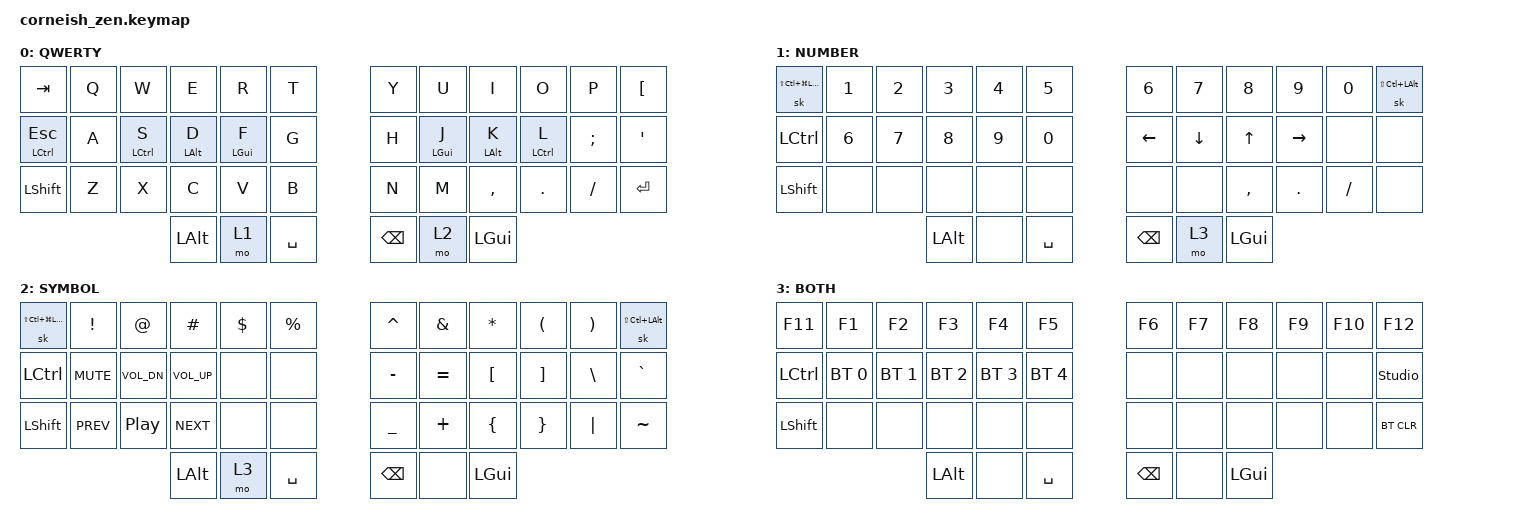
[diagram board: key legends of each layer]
#include <behaviors.dtsi>
#include <dt-bindings/zmk/keys.h>
#include <dt-bindings/zmk/bt.h>

/ {
  chosen {
    zmk,physical-layout = &foostan_corne_6col_layout;
    //zmk,physical-layout = &foostan_corne_5col_layout;
  };
};

/ {
        behaviors {
                hm: homerow_mods {
                compatible = "zmk,behavior-hold-tap";
                #binding-cells = <2>;
                tapping-term-ms = <200>;
                quick-tap-ms = <0>;
                flavor = "tap-preferred";
                bindings = <&kp>, <&kp>;
              };
        };
        keymap {
                compatible = "zmk,keymap";

                default_layer {
                        label = "QWERTY";
// -----------------------------------------------------------------------------------------
// |  TAB      |  Q  |  W        |  E       |  R       |  T  |   |  Y  |  U       |  I       |  O        |  P  | [    |
// | CTRL(ESC) |  A  |  CTRL(S)  |  OPT(D)  |  CMD(F)  |  G  |   |  H  |  CMD(J)  |  OPT(K)  |  CTRL(L)  |  ;  |  '   |
// | SHFT      |  Z  |  X        |  C       |  V       |  B  |   |  N  |  M       |  ,       |  .        |  /  | ENT  |
//                                         | ALT | LWR | SPC |   | BSPC | RSE  | GUI |
// -----------------------------------------------------------------------------------------
                        bindings = <
          &kp TAB  &kp Q  &kp W        &kp E       &kp R       &kp T       &kp Y  &kp U       &kp I       &kp O        &kp P  &kp LBKT
    &mt LCTRL ESC  &kp A  &hm LCTRL S  &hm LALT D  &hm LGUI F  &kp G       &kp H  &hm LGUI J  &hm LALT K  &hm LCTRL L  &kp SEMI  &kp APOS
        &kp LSHFT  &kp Z  &kp X        &kp C       &kp V       &kp B       &kp N  &kp M       &kp COMMA   &kp DOT      &kp FSLH   &kp RET
                                         &kp LALT  &mo 1  &kp SPACE  &kp BSPC  &mo 2   &kp LGUI
                        >;
                };
                lower_layer {
                        label = "NUMBER";
// -----------------------------------------------------------------------------------------
// | HYPER |  1  |  2  |  3  |  4  |  5  |   |  6  |  7   |  8  |  9  |  0  | MEH  |
// | CTRL  |  6  |  7  |  8  |  9  |  0  |   | LFT | DWN  |  UP | RGT |     |      |
// | SHFT  |     |     |     |     |     |   |     |      |     |     |     |      |
//                     | ALT |     | SPC |   | ENT | BOTH | GUI |
// -----------------------------------------------------------------------------------------
                        bindings = <
    &sk LS(LC(LG(LALT)))  &kp N1  &kp N2   &kp N3  &kp N4     &kp N5     &kp N6    &kp N7     &kp N8     &kp N9    &kp N0  &sk LS(LC(LALT))
               &kp LCTRL  &kp N6  &kp N7   &kp N8  &kp N9     &kp N0   &kp LEFT  &kp DOWN     &kp UP  &kp RIGHT     &none             &none
               &kp LSHFT   &none   &none    &none   &none      &none      &none     &none  &kp COMMA    &kp DOT  &kp FSLH             &none
                                         &kp LALT   &none  &kp SPACE   &kp BSPC     &mo 3  &kp LGUI 
                        >;
                };

                raise_layer {
                        label = "SYMBOL";
// -----------------------------------------------------------------------------------------
// | HYPER |  !   |  @     |  #     |  $   |  %  |   |  ^   |  &  |  *  |  (  |  )  |  MEH |
// | CTRL  | MUTE | VOL_DN | VOL_UP |      |     |   |  -   |  =  |  [  |  ]  |  \  |   `  |
// | SHFT  | PREV | PLAY   | NEXT   |      |     |   |  _   |  +  |  {  |  }  | "|" |   ~  |
//                         | ALT    | BOTH | SPC |   | BSPC |     | GUI |
// -----------------------------------------------------------------------------------------
                        bindings = <
   &sk LS(LC(LG(LALT)))    &kp EXCL        &kp AT      &kp HASH  &kp DLLR  &kp PRCNT   &kp CARET   &kp AMPS   &kp ASTRK  &kp LPAR  &kp RPAR  &sk LS(LC(LALT))
              &kp LCTRL  &kp C_MUTE  &kp C_VOL_DN  &kp C_VOL_UP     &none      &none   &kp MINUS  &kp EQUAL    &kp LBKT  &kp RBKT  &kp BSLH         &kp GRAVE
              &kp LSHFT  &kp C_PREV      &kp C_PP    &kp C_NEXT     &none      &none   &kp UNDER   &kp PLUS    &kp LBRC  &kp RBRC  &kp PIPE         &kp TILDE
                    	                                 &kp LALT     &mo 3  &kp SPACE    &kp BSPC      &none    &kp LGUI
                        >;
                };
                
                both_layer {
                        label = "BOTH";
// -----------------------------------------------------------------------------------------
// | F11  | F1  | F2  | F3  | F4  | F5  |   | F6   | F7 | F8  | F9 | F10 | F12   |
// | CTRL | BT1 | BT2 | BT3 | BT4 | BT5 |   |      |    |     |    |     |       |
// | SHFT |     |     |     |     |     |   |      |    |     |    |     | BTCLR |
//                    | ALT |     | SPC |   | BSPC |    | GUI |
// -----------------------------------------------------------------------------------------
                        bindings = <
      &kp F11        &kp F1        &kp F2        &kp F3        &kp F4        &kp F5      &kp F6  &kp F7    &kp F8  &kp F9  &kp F10     &kp F12
    &kp LCTRL  &bt BT_SEL 0  &bt BT_SEL 1  &bt BT_SEL 2  &bt BT_SEL 3  &bt BT_SEL 4       &none   &none     &none   &none    &none  &studio_unlock
    &kp LSHFT         &none         &none         &none         &none         &none       &none   &none     &none   &none    &none  &bt BT_CLR
                    	                         &kp LALT         &none     &kp SPACE    &kp BSPC   &none  &kp LGUI
                        >;
                };
        };
};
